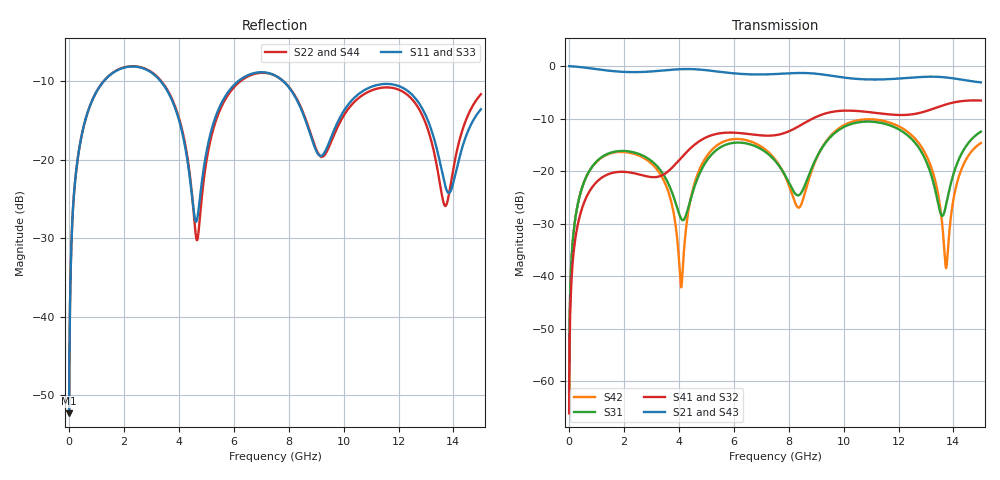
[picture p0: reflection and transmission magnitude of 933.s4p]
! Created with skrf 1.8.0 (http://scikit-rf.org).
# GHz S RI R 50.0
!freq ReS11 ImS11 ReS12 ImS12 ReS13 ImS13
! ReS14 ImS14
! ReS21 ImS21 ReS22 ImS22 ReS23 ImS23
! ReS24 ImS24
! ReS31 ImS31 ReS32 ImS32 ReS33 ImS33
! ReS34 ImS34
! ReS41 ImS41 ReS42 ImS42 ReS43 ImS43
! ReS44 ImS44
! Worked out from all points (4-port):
!   2499 points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, 5 MHz to 15 GHz, reference 50 ohm
!   strongest paths, dB at 5 MHz, 3.476 GHz, 7.19 GHz, 11.1 GHz, 15 GHz:
!     S21: 0.0, -0.8, -1.6, -2.6, -3.1
!     S43: 0.0, -0.8, -1.6, -2.6, -3.1
!     S41: -66.1, -20.6, -13.3, -8.9, -6.6
!     S32: -66.1, -20.6, -13.3, -8.9, -6.6
!     S31: -62.2, -21.0, -16.5, -10.6, -12.5
!     S42: -62.2, -22.1, -16.1, -10.2, -14.7
!   lowest |S11| = -52.3 dB at 5 MHz (marker M1), VSWR 1.00, Z = 50.2 + j0.147 ohm
!   |S11| at or under -10 dB: start of sweep to 1.263 GHz; 3.343 GHz to 6.158 GHz (2.815 GHz wide, 59.2 % of centre); 7.807 GHz to end of sweep
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0.005  0.00193 0.00147  0.998 -0.00376  9.84e-05 0.000774  -9.54e-05 -0.000485
       0.998 -0.00376  0.00193 0.00147  -9.54e-05 -0.000485  9.83e-05 0.000774
       9.84e-05 0.000774  -9.54e-05 -0.000485  0.00193 0.00147  0.998 -0.00376
       -9.54e-05 -0.000485  9.83e-05 0.000774  0.998 -0.00376  0.00193 0.00147
0.3126303  0.0318 0.095  0.9564 -0.2324  0.0153 0.0448  -0.0125 -0.0275
           0.9564 -0.2324  0.0319 0.095  -0.0125 -0.0275  0.0148 0.045
           0.0153 0.0448  -0.0125 -0.0275  0.0318 0.095  0.9564 -0.2324
           -0.0125 -0.0275  0.0148 0.045  0.9564 -0.2324  0.0319 0.095
1.3193  0.2712 0.1781  0.5462 -0.7305  0.1304 0.0573  -0.0904 -0.00591
        0.5462 -0.7305  0.2729 0.1769  -0.0904 -0.006  0.1253 0.0643
        0.1304 0.0573  -0.0904 -0.006  0.2712 0.178  0.5462 -0.7304
        -0.0904 -0.00591  0.1253 0.0643  0.5462 -0.7304  0.2728 0.177
4.495623  0.0415 -0.0364  -0.9225 -0.1531  -0.03 0.0539  -0.0255 0.1695
          -0.9225 -0.1531  0.0324 -0.046  -0.0268 0.1692  0.0125 0.0635
          -0.03 0.0539  -0.0268 0.1692  0.0426 -0.0357  -0.9225 -0.153
          -0.0255 0.1695  0.0125 0.0635  -0.9225 -0.153  0.0311 -0.0458
9.247603  0.1077 -0.000669  0.82 0.1348  -0.028 0.1692  0.0465 -0.3447
          0.82 0.1348  0.1044 -0.0101  0.0525 -0.3444  -0.0035 0.1727
          -0.028 0.1692  0.0525 -0.3444  0.1047 -0.000255  0.8198 0.1357
          0.0465 -0.3447  -0.0035 0.1727  0.8198 0.1357  0.1074 -0.0107
13.73697  0.0606 -0.0241  -0.7142 -0.3117  0.0423 0.0233  -0.1521 0.4042
          -0.7142 -0.3117  0.051 0.00659  -0.1624 0.3998  -0.0117 0.00234
          0.0423 0.0233  -0.1624 0.3998  0.0622 -0.0245  -0.7132 -0.3142
          -0.1521 0.4042  -0.0117 0.00234  -0.7132 -0.3142  0.0506 0.00624
15  0.1866 0.0962  -0.6383 0.2858  0.2306 0.0567  0.2583 0.3925
    -0.6383 0.2858  0.2246 0.1342  0.2471 0.3965  0.1622 0.0891
    0.2306 0.0567  0.2471 0.3965  0.194 0.0937  -0.64 0.2831
    0.2583 0.3925  0.1622 0.0891  -0.64 0.2831  0.2162 0.1357
